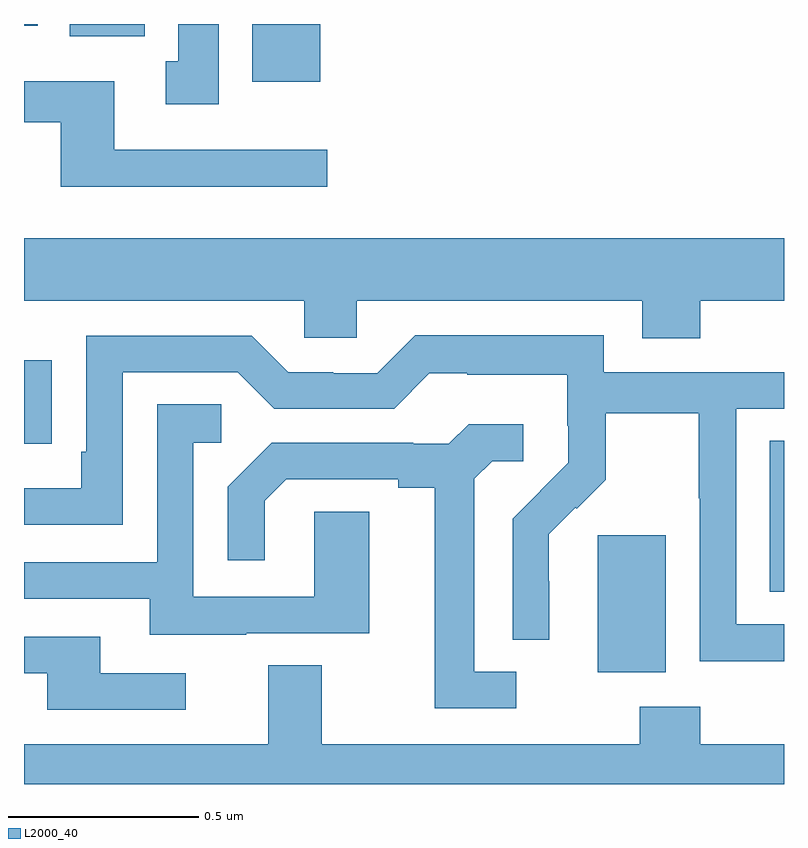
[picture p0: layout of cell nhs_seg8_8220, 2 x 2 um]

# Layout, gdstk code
import gdstk
lib = gdstk.Library(unit=1e-6, precision=1e-09)
def R(c, l, rs):  # rectangles x0, y0, x1, y1
    for r in rs: c.add(gdstk.rectangle(r[:2], r[2:], *l))
def P(c, l, *ps):  # polygons
    for p in ps: c.add(gdstk.Polygon(p, *l))
L2000_40 = (2000, 40)

nhs_seg8_8220 = lib.new_cell('nhs_seg8_8220')
R(nhs_seg8_8220, L2000_40, [(221.51,1110.194,221.689,1110.555), (221.963,1110.406,222,1110.803), (220,1110.796,220.073,1111.015), (220.601,1111.748,220.78,1111.9), (220.121,1111.868,220.318,1111.9), (220,1111.896,220.036,1111.9)])
P(nhs_seg8_8220, L2000_40, [(220.513,1111.9),(220.406,1111.9),(220.406,1111.802),(220.373,1111.802),(220.373,1111.689),(220.513,1111.689)],
  [(220.798,1111.569),(220.237,1111.569),(220.237,1111.75),(220,1111.75),(220,1111.653),(220.001,1111.653),(220.001,1111.641),(220.097,1111.641),(220.097,1111.472),(220.798,1111.472)],
  [(221.78,1111.172),(222,1111.172),(222,1111.336),(220,1111.336),(220,1111.172),(220.737,1111.172),(220.737,1111.074),(220.875,1111.074),(220.875,1111.172),(221.627,1111.172),(221.627,1111.073),(221.78,1111.073)],
  [(222,1110.321),(221.874,1110.321),(221.874,1110.888),(222,1110.888),(222,1110.984),(221.526,1110.984),(221.526,1111.081),(221.029,1111.081),(220.929,1110.981),(220.814,1110.981),(220.814,1110.984),(220.695,1110.984),(220.599,1111.08),(220.164,1111.08),(220.164,1110.775),(220.151,1110.775),(220.151,1110.678),(220,1110.678),(220,1110.582),(220.26,1110.582),(220.26,1110.984),(220.563,1110.984),(220.659,1110.888),(220.974,1110.888),(221.067,1110.981),(221.167,1110.981),(221.167,1110.977),(221.43,1110.977),(221.43,1110.843),(221.432,1110.843),(221.432,1110.746),(221.358,1110.672),(221.359,1110.671),(221.286,1110.598),(221.286,1110.28),(221.382,1110.28),(221.382,1110.434),(221.381,1110.434),(221.381,1110.557),(221.451,1110.627),(221.454,1110.624),(221.531,1110.701),(221.531,1110.876),(221.776,1110.876),(221.776,1110.652),(221.778,1110.652),(221.778,1110.223),(222,1110.223)],
  [(220.585,1110.297),(220.909,1110.297),(220.909,1110.617),(220.764,1110.617),(220.764,1110.393),(220.446,1110.393),(220.446,1110.798),(220.519,1110.798),(220.519,1110.899),(220.35,1110.899),(220.35,1110.483),(220,1110.483),(220,1110.387),(220.331,1110.387),(220.331,1110.293),(220.585,1110.293)],
  [(221.296,1110.195),(221.185,1110.195),(221.185,1110.703),(221.232,1110.75),(221.314,1110.75),(221.314,1110.847),(221.17,1110.847),(221.118,1110.795),(221.024,1110.795),(221.024,1110.798),(220.652,1110.798),(220.536,1110.682),(220.536,1110.489),(220.633,1110.489),(220.633,1110.645),(220.69,1110.702),(220.985,1110.702),(220.985,1110.68),(221.081,1110.68),(221.081,1110.099),(221.296,1110.099)],
  [(220.426,1110.192),(220.201,1110.192),(220.201,1110.288),(220,1110.288),(220,1110.192),(220.061,1110.192),(220.061,1110.096),(220.426,1110.096)],
  [(222,1110.004),(221.78,1110.004),(221.78,1110.103),(221.62,1110.103),(221.62,1110.004),(220.783,1110.004),(220.783,1110.212),(220.643,1110.212),(220.643,1110.004),(220,1110.004),(220,1109.9),(222,1109.9)])

lib.write_gds('nhs_seg8_8220.gds')
